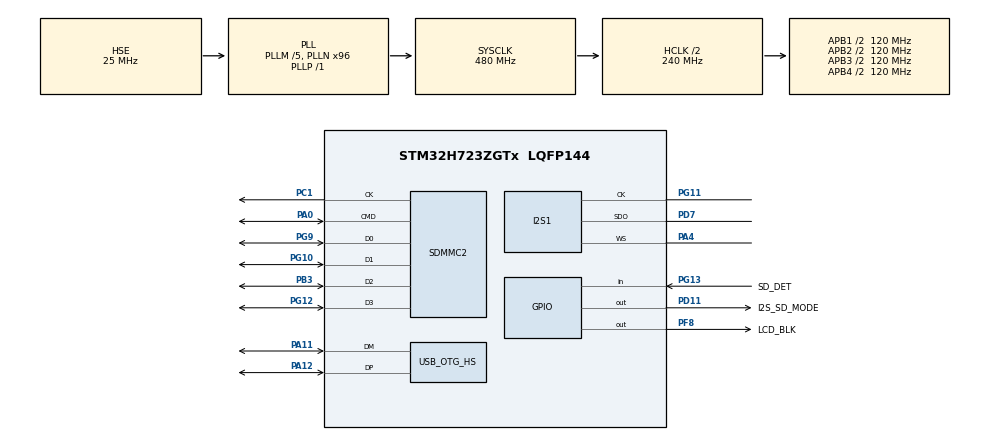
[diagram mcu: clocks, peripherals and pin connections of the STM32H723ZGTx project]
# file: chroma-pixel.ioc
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CORTEX_M7.default_mode_Activation=1
Dma.Request0=SPI1_TX
Dma.SPI1_TX.0.Direction=DMA_MEMORY_TO_PERIPH
Dma.SPI1_TX.0.EventEnable=DISABLE
Dma.SPI1_TX.0.FIFOMode=DMA_FIFOMODE_DISABLE
Dma.SPI1_TX.0.Instance=DMA1_Stream0
Dma.SPI1_TX.0.MemDataAlignment=DMA_MDATAALIGN_HALFWORD
Dma.SPI1_TX.0.MemInc=DMA_MINC_ENABLE
Dma.SPI1_TX.0.Mode=DMA_NORMAL
Dma.SPI1_TX.0.PeriphDataAlignment=DMA_PDATAALIGN_HALFWORD
Dma.SPI1_TX.0.PeriphInc=DMA_PINC_DISABLE
Dma.SPI1_TX.0.Polarity=HAL_DMAMUX_REQ_GEN_RISING
Dma.SPI1_TX.0.Priority=DMA_PRIORITY_LOW
Dma.SPI1_TX.0.RequestNumber=1
Dma.SPI1_TX.0.SignalID=NONE
Dma.SPI1_TX.0.SyncEnable=DISABLE
Dma.SPI1_TX.0.SyncPolarity=HAL_DMAMUX_SYNC_NO_EVENT
Dma.SPI1_TX.0.SyncRequestNumber=1
Dma.SPI1_TX.0.SyncSignalID=NONE
FATFS.BSP.number=1
FATFS._MAX_SS=4096
FATFS._USE_LFN=1
FATFS0.BSP.STBoard=false
FATFS0.BSP.api=Unknown
FATFS0.BSP.instance=PG13
FATFS0.BSP.ip=GPIO
FATFS0.BSP.mode=Input
FATFS0.BSP.name=Detect_SDIO
FATFS0.BSP.solution=PG13
I2S1.AudioFreq=I2S_AUDIOFREQ_44K
I2S1.ErrorAudioFreq=0.26 %
I2S1.Instance=SPI$Index
I2S1.RealAudioFreq=44.117 KHz
Mcu.Family=STM32H7
Mcu.Name=STM32H723ZGTx
Mcu.Package=LQFP144
NVIC.DMA1_Stream0_IRQn=true\:0\:0\:false\:false\:true\:false\:true\:true
NVIC.OTG_HS_IRQn=true\:0\:0\:false\:false\:true\:false\:true\:true
NVIC.PriorityGroup=NVIC_PRIORITYGROUP_4
NVIC.SPI1_IRQn=true\:0\:0\:false\:false\:true\:true\:true\:true
PA0.Mode=SD_4_bits_Wide_bus
PA0.Signal=SDMMC2_CMD
PA11.Mode=Device_Only_FS
PA11.Signal=USB_OTG_HS_DM
PA12.Mode=Device_Only_FS
PA12.Signal=USB_OTG_HS_DP
PA13(JTMS/SWDIO).Mode=Serial_Wire
PA13(JTMS/SWDIO).Signal=DEBUG_JTMS-SWDIO
PA14(JTCK/SWCLK).Mode=Serial_Wire
PA14(JTCK/SWCLK).Signal=DEBUG_JTCK-SWCLK
PA4.Mode=Half_Duplex_Master_Tx
PA4.Signal=I2S1_WS
PB3(JTDO/TRACESWO).Mode=SD_4_bits_Wide_bus
PB3(JTDO/TRACESWO).Signal=SDMMC2_D2
PC1.Mode=SD_4_bits_Wide_bus
PC1.Signal=SDMMC2_CK
PD11.GPIO_Label=I2S_SD_MODE
PD11.GPIO_Speed=GPIO_SPEED_FREQ_HIGH
PD11.Signal=GPIO_Output
PD7.Mode=Half_Duplex_Master_Tx
PD7.Signal=I2S1_SDO
PF8.GPIO_Label=LCD_BLK
PF8.Signal=GPIO_Output
PG10.Mode=SD_4_bits_Wide_bus
PG10.Signal=SDMMC2_D1
PG11.Mode=Half_Duplex_Master_Tx
PG11.Signal=I2S1_CK
PG12.Mode=SD_4_bits_Wide_bus
PG12.Signal=SDMMC2_D3
PG13.GPIO_Label=SD_DET
PG13.GPIO_PuPd=GPIO_PULLUP
PG13.Signal=GPIO_Input
PG9.Mode=SD_4_bits_Wide_bus
PG9.Signal=SDMMC2_D0
PH0-OSC_IN.Mode=HSE-External-Oscillator
PH0-OSC_IN.Signal=RCC_OSC_IN
PH1-OSC_OUT.Mode=HSE-External-Oscillator
PH1-OSC_OUT.Signal=RCC_OSC_OUT
ProjectManager.HeapSize=0x200
ProjectManager.StackSize=0x400
ProjectManager.TargetToolchain=STM32CubeIDE
RCC.ADCFreq_Value=50390625
RCC.APB1Freq_Value=120000000
RCC.APB2Freq_Value=120000000
RCC.APB3Freq_Value=120000000
RCC.APB4Freq_Value=120000000
RCC.CortexFreq_Value=480000000
RCC.D1PPRE=RCC_APB3_DIV2
RCC.D2PPRE1=RCC_APB1_DIV2
RCC.D2PPRE2=RCC_APB2_DIV2
RCC.D3PPRE=RCC_APB4_DIV2
RCC.DIVM1=5
RCC.DIVN1=96
RCC.DIVP1=1
RCC.DIVQ1=10
RCC.HCLKFreq_Value=240000000
RCC.HPRE=RCC_HCLK_DIV2
RCC.PLLFRACN=0
RCC.PLLSourceVirtual=RCC_PLLSOURCE_HSE
RCC.SYSCLKFreq_VALUE=480000000
RCC.SYSCLKSource=RCC_SYSCLKSOURCE_PLLCLK
RCC.USBFreq_Value=48000000
SDMMC2.ClockDiv=4
USB_DEVICE.CLASS_NAME_HS=CDC
USB_DEVICE.VirtualMode=Cdc
USB_DEVICE.VirtualModeHS=Cdc_HS
USB_OTG_HS.VirtualMode-Device_Only_FS=Device_Only_FS
VP_FATFS_VS_SDIO.Mode=SDIO
VP_USB_DEVICE_VS_USB_DEVICE_CDC_HS.Mode=CDC_HS
board=custom

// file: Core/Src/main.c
/* USER CODE BEGIN Header */
/**
  ******************************************************************************
  * @file           : main.c
  * @brief          : Main program body
  ******************************************************************************
  * @attention
  *
  * Copyright (c) 2024 STMicroelectronics.
  * All rights reserved.
  *
  * This software is licensed under terms that can be found in the LICENSE file
  * in the root directory of this software component.
  * If no LICENSE file comes with this software, it is provided AS-IS.
  *
  ******************************************************************************
  */
/* USER CODE END Header */
#include "main.h"
#include "dma.h"
#include "fatfs.h"
#include "i2s.h"
#include "sdmmc.h"
#include "usb_device.h"
#include "gpio.h"

/* USER CODE BEGIN Includes */

#include <string.h>
#include "usbd_cdc_if.h"
/* USER CODE END Includes */

/* USER CODE BEGIN PV */
SD_HandleTypeDef hsd1;
char txBuffer[300];

typedef struct {
	// RIFF Header
	char chunkID[4];
	uint32_t chunkSize;
	char format[4];

	// fmt chunk
	char subchunk1ID[4];
	uint32_t subchunk1Size;
	uint16_t audioFormat;
	uint16_t numChannels;
	uint32_t sampleRate;
	uint32_t byteRate;
	uint16_t blockAlign;
	uint16_t bitsPerSample;

	// data chunk (only the header part)
	char subchunk2ID[4];
	uint32_t subchunk2Size;
}WAV_Header_t;

/* USER CODE END PV */

void SystemClock_Config(void);
static void MPU_Config(void);
/* USER CODE BEGIN PFP */
static void SDIO_SDCard_Test();
static FRESULT list_files(const char *path);

static void usb_cdc_printf(char *txtStr) {
	while(CDC_Transmit_HS((uint8_t*)txtStr, strlen(txtStr)) == USBD_BUSY) {

	}
}

int printWAVHeader(const char *filename) {
	FIL file;
	FRESULT res;
	UINT bytesRead;

	WAV_Header_t header;

	sprintf(txBuffer, "\r\nOpening WAV file: %s\r\n", filename);
	usb_cdc_printf(txBuffer);

	// Open the file
	res = f_open(&file, filename, FA_READ);
	if(res != FR_OK) {
	  usb_cdc_printf("Failed to open the file.\r\n");
	  return -1;
	}

	// Read the combined WAV Header
	res = f_read(&file, &header, sizeof(header), &bytesRead);
	if(res != FR_OK || bytesRead != sizeof(header)) {
	  usb_cdc_printf("Failed to read WAV Header.\r\n");
	  return -1;
	}

	sprintf(txBuffer, "RIFF Header:\r\n");
	usb_cdc_printf(txBuffer);
	sprintf(txBuffer, " Chunk ID: \"%.4s\"\r\n", header.chunkID);
	usb_cdc_printf(txBuffer);
	sprintf(txBuffer, " Chunk Size: %u\r\n", header.chunkSize);
	usb_cdc_printf(txBuffer);
	sprintf(txBuffer, " Format: \"%.4s\"\r\n", header.format);
	usb_cdc_printf(txBuffer);

	sprintf(txBuffer, "\nfmt Chunk:\r\n");
	usb_cdc_printf(txBuffer);
	sprintf(txBuffer, " Subchunk1 ID: \"%.4s\"\r\n", header.subchunk1ID);
	usb_cdc_printf(txBuffer);
	sprintf(txBuffer, " Subchunk1 Size: %u\r\n", header.subchunk1Size);
	usb_cdc_printf(txBuffer);
	sprintf(txBuffer, " Audio Format: %u\r\n", header.audioFormat);
	usb_cdc_printf(txBuffer);
	sprintf(txBuffer, " Number of Channels: %u\r\n", header.numChannels);
	usb_cdc_printf(txBuffer);
	sprintf(txBuffer, " Sample rate: %u\r\n", header.sampleRate);
	usb_cdc_printf(txBuffer);
	sprintf(txBuffer, " Byte Rate: %u\r\n", header.byteRate);
	usb_cdc_printf(txBuffer);
	sprintf(txBuffer, " Block Align: %u\r\n", header.blockAlign);
	usb_cdc_printf(txBuffer);
	sprintf(txBuffer, " Bits per Sample: %u\r\n", header.bitsPerSample);
	usb_cdc_printf(txBuffer);

	sprintf(txBuffer, "\ndata Chunk:\r\n");
	usb_cdc_printf(txBuffer);
	sprintf(txBuffer, " Subchunk2 ID: \"%.4s\"\r\n", header.subchunk2ID);
	usb_cdc_printf(txBuffer);
	sprintf(txBuffer, " Subchunk2 Size: %u\r\n", header.subchunk2Size);
	usb_cdc_printf(txBuffer);
}

/* USER CODE END PFP */

int main(void)
{

  /* MPU Configuration--------------------------------------------------------*/
  MPU_Config();

  /* MCU Configuration--------------------------------------------------------*/

  /* Reset of all peripherals, Initializes the Flash interface and the Systick. */
  HAL_Init();

  /* Configure the system clock */
  SystemClock_Config();

  /* Initialize all configured peripherals */
  MX_GPIO_Init();
  MX_DMA_Init();
  MX_SDMMC2_SD_Init();
  MX_FATFS_Init();
  MX_I2S1_Init();
  MX_USB_DEVICE_Init();
  /* USER CODE BEGIN 2 */
  HAL_Delay(5000);

  HAL_GPIO_WritePin(LCD_BLK_GPIO_Port, LCD_BLK_Pin, GPIO_PIN_SET);
  for(;;);

  FATFS fs;
  FRESULT res;

  // Mount the file system
  res = f_mount(&fs, "", 1);
  if(res != FR_OK) {
	  usb_cdc_printf("Failed to mount the filesystem.\r\n");
	  return -1;
  }

  // Print the WAV header information
  printWAVHeader("Super-Mario-Bros-Theme-Song-mono.wav");
//  printWAVHeader("Naruto-Main-Theme.wav");
//  printWAVHeader("Naruto-Theme-The-Raising-Fighting-Spirit.wav");
//  printWAVHeader("One-Piece-OST-Overtaken.wav");
//  printWAVHeader("One-Piece-OST-The-Very-Very-Strongest.wav");

  // Unmount the filesystem
  f_mount(NULL, "", 1);

  SDIO_SDCard_Test();
//  if(list_files("") != FR_OK) {
//	  sprintf(txBuffer, "Error listing files\r\n");
//	  usb_cdc_printf(txBuffer);
//	  while(1);
//  }

  /* USER CODE END 2 */

  /* Infinite loop */
  while (1)
  {

    /* USER CODE BEGIN 3 */
	  usb_cdc_printf("Hello World!..\r\n");
	  HAL_Delay(1000);
  }
  /* USER CODE END 3 */
}

void SystemClock_Config(void)
{
  RCC_OscInitTypeDef RCC_OscInitStruct = {0};
  RCC_ClkInitTypeDef RCC_ClkInitStruct = {0};

  /** Supply configuration update enable
  */
  HAL_PWREx_ConfigSupply(PWR_LDO_SUPPLY);

  /** Configure the main internal regulator output voltage
  */
  __HAL_PWR_VOLTAGESCALING_CONFIG(PWR_REGULATOR_VOLTAGE_SCALE0);

  while(!__HAL_PWR_GET_FLAG(PWR_FLAG_VOSRDY)) {}

  /** Initializes the RCC Oscillators according to the specified parameters
  * in the RCC_OscInitTypeDef structure.
  */
  RCC_OscInitStruct.OscillatorType = RCC_OSCILLATORTYPE_HSE;
  RCC_OscInitStruct.HSEState = RCC_HSE_ON;
  RCC_OscInitStruct.PLL.PLLState = RCC_PLL_ON;
  RCC_OscInitStruct.PLL.PLLSource = RCC_PLLSOURCE_HSE;
  RCC_OscInitStruct.PLL.PLLM = 5;
  RCC_OscInitStruct.PLL.PLLN = 96;
  RCC_OscInitStruct.PLL.PLLP = 1;
  RCC_OscInitStruct.PLL.PLLQ = 10;
  RCC_OscInitStruct.PLL.PLLR = 2;
  RCC_OscInitStruct.PLL.PLLRGE = RCC_PLL1VCIRANGE_2;
  RCC_OscInitStruct.PLL.PLLVCOSEL = RCC_PLL1VCOWIDE;
  RCC_OscInitStruct.PLL.PLLFRACN = 0;
  if (HAL_RCC_OscConfig(&RCC_OscInitStruct) != HAL_OK)
  {
    Error_Handler();
  }

  /** Initializes the CPU, AHB and APB buses clocks
  */
  RCC_ClkInitStruct.ClockType = RCC_CLOCKTYPE_HCLK|RCC_CLOCKTYPE_SYSCLK
                              |RCC_CLOCKTYPE_PCLK1|RCC_CLOCKTYPE_PCLK2
                              |RCC_CLOCKTYPE_D3PCLK1|RCC_CLOCKTYPE_D1PCLK1;
  RCC_ClkInitStruct.SYSCLKSource = RCC_SYSCLKSOURCE_PLLCLK;
  RCC_ClkInitStruct.SYSCLKDivider = RCC_SYSCLK_DIV1;
  RCC_ClkInitStruct.AHBCLKDivider = RCC_HCLK_DIV2;
  RCC_ClkInitStruct.APB3CLKDivider = RCC_APB3_DIV2;
  RCC_ClkInitStruct.APB1CLKDivider = RCC_APB1_DIV2;
  RCC_ClkInitStruct.APB2CLKDivider = RCC_APB2_DIV2;
  RCC_ClkInitStruct.APB4CLKDivider = RCC_APB4_DIV2;

  if (HAL_RCC_ClockConfig(&RCC_ClkInitStruct, FLASH_LATENCY_3) != HAL_OK)
  {
    Error_Handler();
  }
}

/* USER CODE BEGIN 4 */

static FRESULT list_files(const char *path) {
	FRESULT fRes;
	DIR dir;
	FILINFO fno;
	int nFile, nDir;

	fRes = f_opendir(&dir, path);	// Open the directory
	if(fRes == FR_OK) {
		nFile = nDir = 0;
		for(;;) {
			fRes = f_readdir(&dir, &fno);					// Read a directory item
			if(fRes != FR_OK || fno.fname[0] == 0) break;	// Error or end of dir
			if(fno.fattrib & AM_DIR) {
				sprintf(txBuffer, "    <DIR>    %s\r\n", fno.fname);
				usb_cdc_printf(txBuffer);
				nDir++;
			} else {
				sprintf(txBuffer, "%.1fMB %s   ", (float)fno.fsize / 1000000.0, fno.fname);
				usb_cdc_printf(txBuffer);

				sprintf(txBuffer, "Timestamp: %u-%02u-%02u, %02u:%02u  ",
						(fno.fdate >> 9) + 1980, fno.fdate >> 5 & 15, fno.fdate & 31,
						fno.ftime >> 11, fno.ftime >> 5 & 63);
				usb_cdc_printf(txBuffer);

				sprintf(txBuffer, "Attributes: %c%c%c%c%c\r\n",
						(fno.fattrib & AM_DIR) ? 'D' : '-',
						(fno.fattrib & AM_RDO) ? 'R' : '-',
						(fno.fattrib & AM_HID) ? 'H' : '-',
						(fno.fattrib & AM_SYS) ? 'S' : '-',
						(fno.fattrib & AM_ARC) ? 'A' : '-');
				usb_cdc_printf(txBuffer);
				nFile++;
			}
		}
		f_closedir(&dir);
		sprintf(txBuffer, "%d dirs, %d files.\r\n", nDir, nFile);
		usb_cdc_printf(txBuffer);
	} else {
		sprintf(txBuffer, "Failed to open \"%s\". (%u)\r\n", path, fRes);
		usb_cdc_printf(txBuffer);
	}

	return fRes;
}

static void SDIO_SDCard_Test() {
	FATFS fatFS;
	FIL fil;
	FRESULT frStatus;
	FATFS *fsPtr;
	UINT RWC, WWC;	// Read/Write Word Counter
	DWORD freeCluster;
	uint32_t totalSize, freeSpace;
	char rwBuffer[200];
	do {
		// Mount the sd card
		frStatus = f_mount(&fatFS, SDPath, 1);
		if(frStatus != FR_OK) {
			sprintf(txBuffer, "Error! while mounting SD card, Error code: (%i)\r\n", frStatus);
			usb_cdc_printf(txBuffer);
			break;
		}
		sprintf(txBuffer, "SD card mounted successfully! \r\n\n");
		usb_cdc_printf(txBuffer);

		// Get & print the SD card size & free space
		f_getfree("", &freeCluster, &fsPtr);
		totalSize = (uint32_t)((fsPtr->n_fatent - 2) * fsPtr->csize * 0.5);
		freeSpace = (uint32_t)(freeCluster * fsPtr->csize * 0.5);
		sprintf(txBuffer, "Total SD card size: %lu Bytes\r\n", totalSize);
		usb_cdc_printf(txBuffer);
		sprintf(txBuffer, "Free SD card space: %lu Bytes\r\n\n", freeSpace);
		usb_cdc_printf(txBuffer);
	} while(0);
	list_files("");
	// Test complete! unmount SD the card
	frStatus = f_mount(NULL, "", 0);
	if(frStatus != FR_OK) {
		sprintf(txBuffer, "\r\nError! while un-mounting SD Card, Error Code: (%i)\r\n", frStatus);
		usb_cdc_printf(txBuffer);
	} else {
		sprintf(txBuffer, "\r\nSD Card un-mounted successfully! \r\n");
		usb_cdc_printf(txBuffer);
	}
}

/* USER CODE END 4 */

 /* MPU Configuration */

void MPU_Config(void)
{
  MPU_Region_InitTypeDef MPU_InitStruct = {0};

  /* Disables the MPU */
  HAL_MPU_Disable();

  /** Initializes and configures the Region and the memory to be protected
  */
  MPU_InitStruct.Enable = MPU_REGION_ENABLE;
  MPU_InitStruct.Number = MPU_REGION_NUMBER0;
  MPU_InitStruct.BaseAddress = 0x0;
  MPU_InitStruct.Size = MPU_REGION_SIZE_4GB;
  MPU_InitStruct.SubRegionDisable = 0x87;
  MPU_InitStruct.TypeExtField = MPU_TEX_LEVEL0;
  MPU_InitStruct.AccessPermission = MPU_REGION_NO_ACCESS;
  MPU_InitStruct.DisableExec = MPU_INSTRUCTION_ACCESS_DISABLE;
  MPU_InitStruct.IsShareable = MPU_ACCESS_SHAREABLE;
  MPU_InitStruct.IsCacheable = MPU_ACCESS_NOT_CACHEABLE;
  MPU_InitStruct.IsBufferable = MPU_ACCESS_NOT_BUFFERABLE;

  HAL_MPU_ConfigRegion(&MPU_InitStruct);
  /* Enables the MPU */
  HAL_MPU_Enable(MPU_PRIVILEGED_DEFAULT);

}

void Error_Handler(void)
{
  __disable_irq();
  while (1)
  {
  }
}
